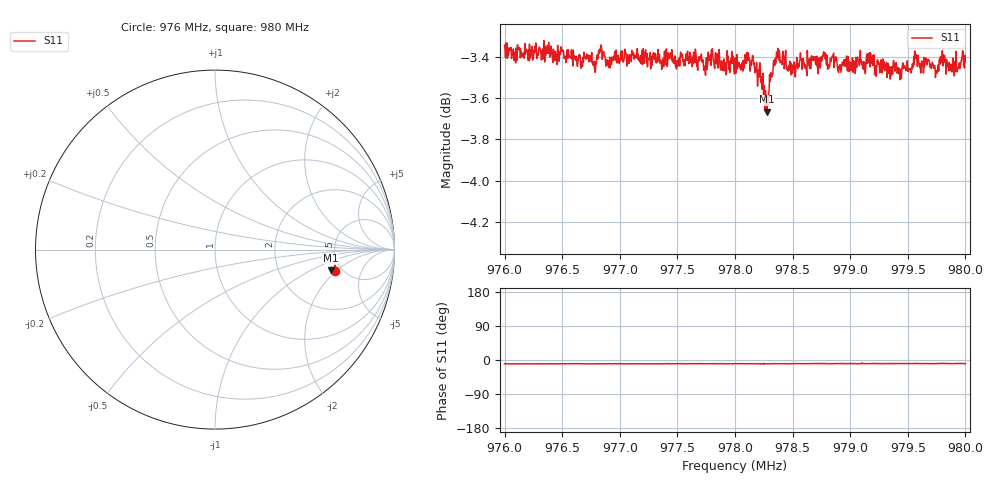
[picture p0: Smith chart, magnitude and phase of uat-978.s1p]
! Calibrated averaged scanner-service zoom
# Hz S RI R 50
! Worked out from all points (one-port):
!   1001 points, 976 MHz to 980 MHz, reference 50 ohm
!   lowest |S11| = -3.7 dB at 978.276 MHz (marker M1), VSWR 4.81, Z = 206 - j82.3 ohm
!   |S11| at or under -10 dB: nowhere
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9.76e8  0.6706 -0.1165
9.76064e8  0.667 -0.1204
9.765e8  0.6677 -0.119
9.76616e8  0.6654 -0.113
9.76732e8  0.6635 -0.1202
9.7678e8  0.6619 -0.1158
9.7684e8  0.6698 -0.1185
9.77e8  0.6655 -0.116
9.77236e8  0.6667 -0.12
9.77452e8  0.6683 -0.1193
9.775e8  0.6646 -0.1116
9.77584e8  0.6646 -0.1178
9.78e8  0.6657 -0.1141
9.78168e8  0.6632 -0.1155
9.78276e8  0.6458 -0.114
9.78368e8  0.6663 -0.1132
9.785e8  0.6602 -0.1134
9.78768e8  0.6696 -0.1065
9.78836e8  0.6653 -0.1143
9.79e8  0.6639 -0.107
9.795e8  0.6624 -0.1065
9.79572e8  0.6692 -0.1029
9.797e8  0.6627 -0.1147
9.79748e8  0.6619 -0.1111
9.79812e8  0.6661 -0.1026
9.79856e8  0.6621 -0.1091
9.79952e8  0.6632 -0.1071
9.8e8  0.6651 -0.1115
